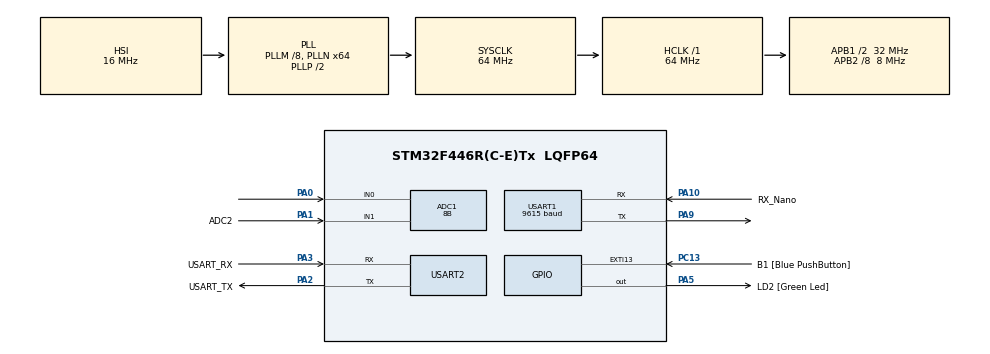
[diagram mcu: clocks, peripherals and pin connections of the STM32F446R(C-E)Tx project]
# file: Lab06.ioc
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ADC1.Channel-0\#ChannelRegularConversion=ADC_CHANNEL_0
ADC1.Channel-1\#ChannelRegularConversion=ADC_CHANNEL_1
ADC1.ContinuousConvMode=ENABLE
ADC1.DMAContinuousRequests=ENABLE
ADC1.EOCSelection=ADC_EOC_SEQ_CONV
ADC1.InjNumberOfConversion=0
ADC1.NbrOfConversion=2
ADC1.NbrOfConversionFlag=1
ADC1.Rank-0\#ChannelRegularConversion=1
ADC1.Rank-1\#ChannelRegularConversion=2
ADC1.Resolution=ADC_RESOLUTION_8B
ADC1.SamplingTime-0\#ChannelRegularConversion=ADC_SAMPLETIME_3CYCLES
ADC1.SamplingTime-1\#ChannelRegularConversion=ADC_SAMPLETIME_3CYCLES
ADC1.ScanConvMode=ENABLE
ADC1.master=1
Dma.ADC1.0.Direction=DMA_PERIPH_TO_MEMORY
Dma.ADC1.0.FIFOMode=DMA_FIFOMODE_ENABLE
Dma.ADC1.0.FIFOThreshold=DMA_FIFO_THRESHOLD_FULL
Dma.ADC1.0.Instance=DMA2_Stream0
Dma.ADC1.0.MemBurst=DMA_MBURST_SINGLE
Dma.ADC1.0.MemDataAlignment=DMA_MDATAALIGN_HALFWORD
Dma.ADC1.0.MemInc=DMA_MINC_ENABLE
Dma.ADC1.0.Mode=DMA_CIRCULAR
Dma.ADC1.0.PeriphBurst=DMA_PBURST_SINGLE
Dma.ADC1.0.PeriphDataAlignment=DMA_PDATAALIGN_HALFWORD
Dma.ADC1.0.PeriphInc=DMA_PINC_DISABLE
Dma.ADC1.0.Priority=DMA_PRIORITY_LOW
Dma.Request0=ADC1
Mcu.Family=STM32F4
Mcu.Name=STM32F446R(C-E)Tx
Mcu.Package=LQFP64
NVIC.DMA2_Stream0_IRQn=true\:0\:0\:false\:false\:true\:false\:true\:true
NVIC.PriorityGroup=NVIC_PRIORITYGROUP_0
NVIC.USART1_IRQn=true\:0\:0\:false\:false\:true\:true\:true\:true
PA0-WKUP.Signal=ADCx_IN0
PA1.GPIO_Label=ADC2
PA1.Signal=ADCx_IN1
PA10.GPIO_Label=RX_Nano
PA10.Mode=Asynchronous
PA10.Signal=USART1_RX
PA13.GPIO_Label=TMS
PA13.Mode=Serial_Wire
PA13.Signal=SYS_JTMS-SWDIO
PA14.GPIO_Label=TCK
PA14.Mode=Serial_Wire
PA14.Signal=SYS_JTCK-SWCLK
PA2.GPIO_Label=USART_TX
PA2.Mode=Asynchronous
PA2.Signal=USART2_TX
PA3.GPIO_Label=USART_RX
PA3.Mode=Asynchronous
PA3.Signal=USART2_RX
PA5.GPIO_Label=LD2 [Green Led]
PA5.Signal=GPIO_Output
PA9.Mode=Asynchronous
PA9.Signal=USART1_TX
PB3.GPIO_Label=SWO
PB3.Signal=SYS_JTDO-SWO
PC13.GPIO_Label=B1 [Blue PushButton]
PC13.GPIO_ModeDefaultEXTI=GPIO_MODE_IT_FALLING
PC13.Signal=GPXTI13
PC14-OSC32_IN.Mode=LSE-External-Oscillator
PC14-OSC32_IN.Signal=RCC_OSC32_IN
PC15-OSC32_OUT.Mode=LSE-External-Oscillator
PC15-OSC32_OUT.Signal=RCC_OSC32_OUT
PH0-OSC_IN.Mode=HSE-External-Oscillator
PH0-OSC_IN.Signal=RCC_OSC_IN
PH1-OSC_OUT.Mode=HSE-External-Oscillator
PH1-OSC_OUT.Signal=RCC_OSC_OUT
ProjectManager.HeapSize=0x200
ProjectManager.StackSize=0x400
ProjectManager.TargetToolchain=STM32CubeIDE
RCC.48MHZClocksFreq_Value=84000000
RCC.AHBFreq_Value=64000000
RCC.APB1CLKDivider=RCC_HCLK_DIV2
RCC.APB1Freq_Value=32000000
RCC.APB1TimFreq_Value=64000000
RCC.APB2CLKDivider=RCC_HCLK_DIV8
RCC.APB2Freq_Value=8000000
RCC.APB2TimFreq_Value=16000000
RCC.CortexFreq_Value=64000000
RCC.FLatency-AdvancedSettings=FLASH_LATENCY_2
RCC.HCLKFreq_Value=64000000
RCC.HSE_VALUE=8000000
RCC.HSI_VALUE=16000000
RCC.PLLM=8
RCC.PLLN=64
RCC.SYSCLKFreq_VALUE=64000000
RCC.SYSCLKSource=RCC_SYSCLKSOURCE_PLLCLK
RCC.USBFreq_Value=64000000
RCC.VCOOutputFreq_Value=128000000
SH.ADCx_IN0.0=ADC1_IN0,IN0
SH.ADCx_IN1.0=ADC1_IN1,IN1
USART1.BaudRate=9615
USART1.OverSampling=UART_OVERSAMPLING_8
USART1.VirtualMode=VM_ASYNC
USART2.VirtualMode=VM_ASYNC
board=NUCLEO-F446RE

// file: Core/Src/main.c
/* USER CODE BEGIN Header */
/**
  ******************************************************************************
  * @file           : main.c
  * @brief          : Main program body
  ******************************************************************************
  * @attention
  *
  * Copyright (c) 2026 STMicroelectronics.
  * All rights reserved.
  *
  * This software is licensed under terms that can be found in the LICENSE file
  * in the root directory of this software component.
  * If no LICENSE file comes with this software, it is provided AS-IS.
  *
  ******************************************************************************
  */
/* USER CODE END Header */
#include "main.h"

/* USER CODE BEGIN Includes */
#include "stdint.h"
#include "stdio.h"
/* USER CODE END Includes */

ADC_HandleTypeDef hadc1;
DMA_HandleTypeDef hdma_adc1;

UART_HandleTypeDef huart1;
UART_HandleTypeDef huart2;

/* USER CODE BEGIN PV */
uint16_t ADCvalor[2];
uint8_t estadoADC=0;
uint16_t contador=0;
char array[6];
uint8_t control[1];

/* USER CODE END PV */

void SystemClock_Config(void);
static void MX_GPIO_Init(void);
static void MX_DMA_Init(void);
static void MX_ADC1_Init(void);
static void MX_USART2_UART_Init(void);
static void MX_USART1_UART_Init(void);

int main(void)
{

  /* MCU Configuration--------------------------------------------------------*/

  /* Reset of all peripherals, Initializes the Flash interface and the Systick. */
  HAL_Init();

  /* Configure the system clock */
  SystemClock_Config();

  /* Initialize all configured peripherals */
  MX_GPIO_Init();
  MX_DMA_Init();
  MX_ADC1_Init();
  MX_USART2_UART_Init();
  MX_USART1_UART_Init();
  /* USER CODE BEGIN 2 */
  HAL_UART_Receive_IT(&huart1, control, 1);
  HAL_ADC_Start_DMA(&hadc1, (uint32_t *)ADCvalor, 2);
  uint8_t test[]= "aa\r\n";
  HAL_UART_Transmit(&huart2, test, sizeof(test), HAL_MAX_DELAY);
  /* USER CODE END 2 */

  /* Infinite loop */
  while (1)
  {

    /* USER CODE BEGIN 3 */
	  //contador++;
	  HAL_Delay(500);
	  if(ADCvalor[0]<=100){
		  uint8_t test[]= "Abajo\r\n";
		  HAL_UART_Transmit(&huart2, test, sizeof(test), HAL_MAX_DELAY);
	  }else if(ADCvalor[0]>=160) {
		  uint8_t test[]= "Arriba\r\n";
		  HAL_UART_Transmit(&huart2, test, sizeof(test), HAL_MAX_DELAY);
	  }else{

	  }
	  if(ADCvalor[1]<=100){
		  uint8_t test[]= "izquierda\r\n";
		  HAL_UART_Transmit(&huart2, test, sizeof(test), HAL_MAX_DELAY);
	  }else if(ADCvalor[1]>=160){
		  uint8_t test[]= "Derecha\r\n";
		  HAL_UART_Transmit(&huart2, test, sizeof(test), HAL_MAX_DELAY);
	  }else {

	  }

  }
  /* USER CODE END 3 */
}

void SystemClock_Config(void)
{
  RCC_OscInitTypeDef RCC_OscInitStruct = {0};
  RCC_ClkInitTypeDef RCC_ClkInitStruct = {0};

  /** Configure the main internal regulator output voltage
  */
  __HAL_RCC_PWR_CLK_ENABLE();
  __HAL_PWR_VOLTAGESCALING_CONFIG(PWR_REGULATOR_VOLTAGE_SCALE3);

  /** Initializes the RCC Oscillators according to the specified parameters
  * in the RCC_OscInitTypeDef structure.
  */
  RCC_OscInitStruct.OscillatorType = RCC_OSCILLATORTYPE_HSI;
  RCC_OscInitStruct.HSIState = RCC_HSI_ON;
  RCC_OscInitStruct.HSICalibrationValue = RCC_HSICALIBRATION_DEFAULT;
  RCC_OscInitStruct.PLL.PLLState = RCC_PLL_ON;
  RCC_OscInitStruct.PLL.PLLSource = RCC_PLLSOURCE_HSI;
  RCC_OscInitStruct.PLL.PLLM = 8;
  RCC_OscInitStruct.PLL.PLLN = 64;
  RCC_OscInitStruct.PLL.PLLP = RCC_PLLP_DIV2;
  RCC_OscInitStruct.PLL.PLLQ = 2;
  RCC_OscInitStruct.PLL.PLLR = 2;
  if (HAL_RCC_OscConfig(&RCC_OscInitStruct) != HAL_OK)
  {
    Error_Handler();
  }

  /** Initializes the CPU, AHB and APB buses clocks
  */
  RCC_ClkInitStruct.ClockType = RCC_CLOCKTYPE_HCLK|RCC_CLOCKTYPE_SYSCLK
                              |RCC_CLOCKTYPE_PCLK1|RCC_CLOCKTYPE_PCLK2;
  RCC_ClkInitStruct.SYSCLKSource = RCC_SYSCLKSOURCE_PLLCLK;
  RCC_ClkInitStruct.AHBCLKDivider = RCC_SYSCLK_DIV1;
  RCC_ClkInitStruct.APB1CLKDivider = RCC_HCLK_DIV2;
  RCC_ClkInitStruct.APB2CLKDivider = RCC_HCLK_DIV8;

  if (HAL_RCC_ClockConfig(&RCC_ClkInitStruct, FLASH_LATENCY_2) != HAL_OK)
  {
    Error_Handler();
  }
}

static void MX_ADC1_Init(void)
{

  ADC_ChannelConfTypeDef sConfig = {0};

  /** Configure the global features of the ADC (Clock, Resolution, Data Alignment and number of conversion)
  */
  hadc1.Instance = ADC1;
  hadc1.Init.ClockPrescaler = ADC_CLOCK_SYNC_PCLK_DIV2;
  hadc1.Init.Resolution = ADC_RESOLUTION_8B;
  hadc1.Init.ScanConvMode = ENABLE;
  hadc1.Init.ContinuousConvMode = ENABLE;
  hadc1.Init.DiscontinuousConvMode = DISABLE;
  hadc1.Init.ExternalTrigConvEdge = ADC_EXTERNALTRIGCONVEDGE_NONE;
  hadc1.Init.ExternalTrigConv = ADC_SOFTWARE_START;
  hadc1.Init.DataAlign = ADC_DATAALIGN_RIGHT;
  hadc1.Init.NbrOfConversion = 2;
  hadc1.Init.DMAContinuousRequests = ENABLE;
  hadc1.Init.EOCSelection = ADC_EOC_SEQ_CONV;
  if (HAL_ADC_Init(&hadc1) != HAL_OK)
  {
    Error_Handler();
  }

  /** Configure for the selected ADC regular channel its corresponding rank in the sequencer and its sample time.
  */
  sConfig.Channel = ADC_CHANNEL_0;
  sConfig.Rank = 1;
  sConfig.SamplingTime = ADC_SAMPLETIME_3CYCLES;
  if (HAL_ADC_ConfigChannel(&hadc1, &sConfig) != HAL_OK)
  {
    Error_Handler();
  }

  /** Configure for the selected ADC regular channel its corresponding rank in the sequencer and its sample time.
  */
  sConfig.Channel = ADC_CHANNEL_1;
  sConfig.Rank = 2;
  if (HAL_ADC_ConfigChannel(&hadc1, &sConfig) != HAL_OK)
  {
    Error_Handler();
  }

}

static void MX_USART1_UART_Init(void)
{

  huart1.Instance = USART1;
  huart1.Init.BaudRate = 9615;
  huart1.Init.WordLength = UART_WORDLENGTH_8B;
  huart1.Init.StopBits = UART_STOPBITS_1;
  huart1.Init.Parity = UART_PARITY_NONE;
  huart1.Init.Mode = UART_MODE_TX_RX;
  huart1.Init.HwFlowCtl = UART_HWCONTROL_NONE;
  huart1.Init.OverSampling = UART_OVERSAMPLING_8;
  if (HAL_UART_Init(&huart1) != HAL_OK)
  {
    Error_Handler();
  }

}

static void MX_USART2_UART_Init(void)
{

  huart2.Instance = USART2;
  huart2.Init.BaudRate = 115200;
  huart2.Init.WordLength = UART_WORDLENGTH_8B;
  huart2.Init.StopBits = UART_STOPBITS_1;
  huart2.Init.Parity = UART_PARITY_NONE;
  huart2.Init.Mode = UART_MODE_TX_RX;
  huart2.Init.HwFlowCtl = UART_HWCONTROL_NONE;
  huart2.Init.OverSampling = UART_OVERSAMPLING_16;
  if (HAL_UART_Init(&huart2) != HAL_OK)
  {
    Error_Handler();
  }

}

static void MX_DMA_Init(void)
{

  /* DMA controller clock enable */
  __HAL_RCC_DMA2_CLK_ENABLE();

  /* DMA interrupt init */
  /* DMA2_Stream0_IRQn interrupt configuration */
  HAL_NVIC_SetPriority(DMA2_Stream0_IRQn, 0, 0);
  HAL_NVIC_EnableIRQ(DMA2_Stream0_IRQn);

}

static void MX_GPIO_Init(void)
{
  GPIO_InitTypeDef GPIO_InitStruct = {0};

  /* GPIO Ports Clock Enable */
  __HAL_RCC_GPIOC_CLK_ENABLE();
  __HAL_RCC_GPIOH_CLK_ENABLE();
  __HAL_RCC_GPIOA_CLK_ENABLE();
  __HAL_RCC_GPIOB_CLK_ENABLE();

  /*Configure GPIO pin Output Level */
  HAL_GPIO_WritePin(LD2_GPIO_Port, LD2_Pin, GPIO_PIN_RESET);

  /*Configure GPIO pin : B1_Pin */
  GPIO_InitStruct.Pin = B1_Pin;
  GPIO_InitStruct.Mode = GPIO_MODE_IT_FALLING;
  GPIO_InitStruct.Pull = GPIO_NOPULL;
  HAL_GPIO_Init(B1_GPIO_Port, &GPIO_InitStruct);

  /*Configure GPIO pin : LD2_Pin */
  GPIO_InitStruct.Pin = LD2_Pin;
  GPIO_InitStruct.Mode = GPIO_MODE_OUTPUT_PP;
  GPIO_InitStruct.Pull = GPIO_NOPULL;
  GPIO_InitStruct.Speed = GPIO_SPEED_FREQ_LOW;
  HAL_GPIO_Init(LD2_GPIO_Port, &GPIO_InitStruct);

}

/* USER CODE BEGIN 4 */
void HAL_UART_RxCpltCallback(UART_HandleTypeDef *huart){
	switch (control[0]){
			case 'u':{
				uint8_t text[]= "Boton Arriba\r\n";
				HAL_UART_Transmit(&huart2, text, sizeof(text), HAL_MAX_DELAY);
				break;
			}
			case 'd':{
				uint8_t text[]= "Boton Abajo\r\n";
				HAL_UART_Transmit(&huart2, text, sizeof(text), HAL_MAX_DELAY);
				break;}
			case 'r':{
				uint8_t text[]= "Boton derecho\r\n";
				HAL_UART_Transmit(&huart2, text, sizeof(text), HAL_MAX_DELAY);
				break;}
			case 'l':{
				uint8_t text[]= "Boton Izquierdo\r\n";
				HAL_UART_Transmit(&huart2, text, sizeof(text), HAL_MAX_DELAY);
				break;}
			case 'a':{
				uint8_t text[]= "Boton A\r\n";
				HAL_UART_Transmit(&huart2, text, sizeof(text), HAL_MAX_DELAY);
				break;}
			case 'b':{
				uint8_t text[]= "Boton B\r\n";
				HAL_UART_Transmit(&huart2, text, sizeof(text), HAL_MAX_DELAY);
				break;}
	}
	HAL_UART_Receive_IT(&huart1, control, 1);
}
/* USER CODE END 4 */

void Error_Handler(void)
{
  __disable_irq();
  while (1)
  {
  }
}
